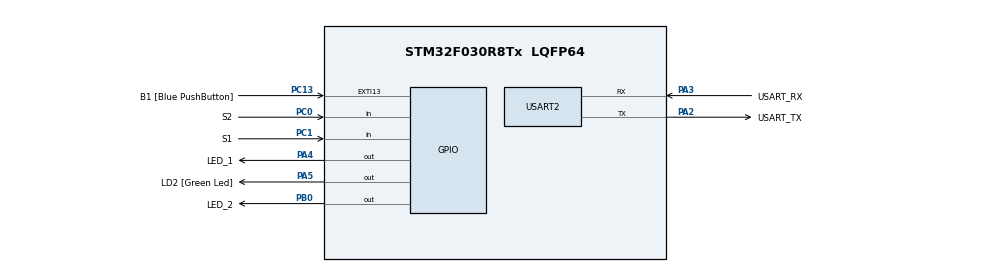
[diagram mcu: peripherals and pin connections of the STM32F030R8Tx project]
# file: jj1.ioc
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Mcu.Family=STM32F0
Mcu.Name=STM32F030R8Tx
Mcu.Package=LQFP64
PA13.GPIO_Label=TMS
PA13.Mode=Serial_Wire
PA13.Signal=SYS_SWDIO
PA14.GPIO_Label=TCK
PA14.Mode=Serial_Wire
PA14.Signal=SYS_SWCLK
PA2.GPIO_Label=USART_TX
PA2.GPIO_Mode=GPIO_MODE_AF_PP
PA2.GPIO_PuPd=GPIO_NOPULL
PA2.GPIO_Speed=GPIO_SPEED_FREQ_LOW
PA2.Mode=Asynchronous
PA2.Signal=USART2_TX
PA3.GPIO_Label=USART_RX
PA3.GPIO_Mode=GPIO_MODE_AF_PP
PA3.GPIO_PuPd=GPIO_NOPULL
PA3.GPIO_Speed=GPIO_SPEED_FREQ_LOW
PA3.Mode=Asynchronous
PA3.Signal=USART2_RX
PA4.GPIO_Label=LED_1
PA4.Signal=GPIO_Output
PA5.GPIO_Label=LD2 [Green Led]
PA5.GPIO_Mode=GPIO_MODE_OUTPUT_PP
PA5.GPIO_PuPd=GPIO_NOPULL
PA5.GPIO_Speed=GPIO_SPEED_FREQ_LOW
PA5.Signal=GPIO_Output
PB0.GPIO_Label=LED_2
PB0.Signal=GPIO_Output
PC0.GPIO_Label=S2
PC0.GPIO_PuPd=GPIO_PULLUP
PC0.Signal=GPIO_Input
PC1.GPIO_Label=S1
PC1.GPIO_PuPd=GPIO_PULLUP
PC1.Signal=GPIO_Input
PC13.GPIO_Label=B1 [Blue PushButton]
PC13.GPIO_ModeDefaultEXTI=GPIO_MODE_IT_FALLING
PC13.Signal=GPXTI13
PC14-OSC32_IN.Mode=LSE-External-Oscillator
PC14-OSC32_IN.Signal=RCC_OSC32_IN
PC15-OSC32_OUT.Mode=LSE-External-Oscillator
PC15-OSC32_OUT.Signal=RCC_OSC32_OUT
PF0-OSC_IN.Mode=HSE-External-Clock-Source
PF0-OSC_IN.Signal=RCC_OSC_IN
PF1-OSC_OUT.Signal=RCC_OSC_OUT
ProjectManager.HeapSize=0x200
ProjectManager.StackSize=0x400
ProjectManager.TargetToolchain=STM32CubeIDE
RCC.AHBFreq_Value=48000000
RCC.APB1Freq_Value=48000000
RCC.APB1TimFreq_Value=48000000
RCC.HCLKFreq_Value=48000000
RCC.PLLMUL=RCC_PLL_MUL12
RCC.SYSCLKFreq_VALUE=48000000
RCC.SYSCLKSource=RCC_SYSCLKSOURCE_PLLCLK
USART2.VirtualMode-Asynchronous=VM_ASYNC
board=NUCLEO-F030R8

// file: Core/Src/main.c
/* USER CODE BEGIN Header */
/**
  ******************************************************************************
  * @file           : main.c
  * @brief          : Main program body
  ******************************************************************************
  * @attention
  *
  * Copyright (c) 2024 STMicroelectronics.
  * All rights reserved.
  *
  * This software is licensed under terms that can be found in the LICENSE file
  * in the root directory of this software component.
  * If no LICENSE file comes with this software, it is provided AS-IS.
  *
  ******************************************************************************
  */
/* USER CODE END Header */
#include "main.h"

/* USER CODE BEGIN PD */
#define BLINK_TIME 300
#define BUTTON_PERIOD 5
#define LED_TIME_SHORT 100
#define LED_TIME_LONG 1000
/* USER CODE END PD */

void SystemClock_Config(void);
static void MX_GPIO_Init(void);
static void MX_USART2_UART_Init(void);

/* USER CODE BEGIN 0 */
/*static void blink() {
	static uint32_t last_blink_tick;

	if (Tick > last_blink_tick + BLINK_TIME) {
		last_blink_tick = Tick;

		LL_GPIO_TogglePin(LED_1_GPIO_Port, LED_1_Pin);
	}

}*/
static void button() {
	static uint32_t old_s2;
	static uint32_t old_s1;
	static uint32_t off_time;
	static uint16_t debounce_s1 = 0xFFFF;  // Proměnná pro debouncing S1
	static uint16_t debounce_s2 = 0xFFFF;  // Proměnná pro debouncing S2
	uint32_t new_s2 = LL_GPIO_IsInputPinSet(S2_GPIO_Port, S2_Pin);
	uint32_t new_s1 = LL_GPIO_IsInputPinSet(S1_GPIO_Port, S1_Pin);

 	/*if (old_s2 && !new_s2) { // falling edge
 		 off_time = Tick + LED_TIME_SHORT;
 		 LL_GPIO_SetOutputPin(LED_2_GPIO_Port, LED_2_Pin);
 	 }
 	 old_s2 = new_s2;*/

	debounce_s1 = (debounce_s1 << 1) | LL_GPIO_IsInputPinSet(S1_GPIO_Port, S1_Pin);  // Bitová rotace vlevo pro S1

	    if (debounce_s1 == 0x7FFF) {  // Pokud je proměnná debounce_s1 rovna 0x7FFF, znamená to, že tlačítko bylo uvolněno bez zákmitů
	        off_time = Tick + LED_TIME_LONG;  // Nastavení času svícení LED2
	        LL_GPIO_SetOutputPin(LED_2_GPIO_Port, LED_2_Pin);  // Zapnutí LED2
	    }

	    // **Pokročilá debouncing kontrola tlačítka S2 (voláno každých 5 ms)**
	    debounce_s2 = (debounce_s2 << 1) | LL_GPIO_IsInputPinSet(S2_GPIO_Port, S2_Pin);  // Bitová rotace vlevo pro S2

	    if (debounce_s2 == 0x7FFF) {  // Pokud je proměnná debounce_s2 rovna 0x7FFF
	        off_time = Tick + LED_TIME_SHORT;  // Nastavení času svícení LED2
	        LL_GPIO_SetOutputPin(LED_2_GPIO_Port, LED_2_Pin);  // Zapnutí LED2
	    }

	    // **Kontrola, zda čas pro vypnutí LED2 uplynul**
	    if (Tick > off_time) {
	        LL_GPIO_ResetOutputPin(LED_2_GPIO_Port, LED_2_Pin);  // Vypnutí LED2
	    }
	}

/* USER CODE END 0 */

int main(void)
{

  /* MCU Configuration--------------------------------------------------------*/

  /* Reset of all peripherals, Initializes the Flash interface and the Systick. */
  LL_APB1_GRP2_EnableClock(LL_APB1_GRP2_PERIPH_SYSCFG);
  LL_APB1_GRP1_EnableClock(LL_APB1_GRP1_PERIPH_PWR);

  /* Configure the system clock */
  SystemClock_Config();

  /* Initialize all configured peripherals */
  MX_GPIO_Init();
  MX_USART2_UART_Init();
  /* USER CODE BEGIN 2 */
  LL_SYSTICK_EnableIT();
  /* USER CODE END 2 */

  /* Infinite loop */
  /* USER CODE BEGIN WHILE */
  while (1)
  {
	//  blink();

	  static uint32_t last_button_tick;

	  if (Tick>last_button_tick+BUTTON_PERIOD) {
		last_button_tick = Tick;
		button();

	}
    /* USER CODE END WHILE */

  }
}

void SystemClock_Config(void)
{
  LL_FLASH_SetLatency(LL_FLASH_LATENCY_1);
  while(LL_FLASH_GetLatency() != LL_FLASH_LATENCY_1)
  {
  }
  LL_RCC_HSI_Enable();

   /* Wait till HSI is ready */
  while(LL_RCC_HSI_IsReady() != 1)
  {

  }
  LL_RCC_HSI_SetCalibTrimming(16);
  LL_RCC_PLL_ConfigDomain_SYS(LL_RCC_PLLSOURCE_HSI_DIV_2, LL_RCC_PLL_MUL_12);
  LL_RCC_PLL_Enable();

   /* Wait till PLL is ready */
  while(LL_RCC_PLL_IsReady() != 1)
  {

  }
  LL_RCC_SetAHBPrescaler(LL_RCC_SYSCLK_DIV_1);
  LL_RCC_SetAPB1Prescaler(LL_RCC_APB1_DIV_1);
  LL_RCC_SetSysClkSource(LL_RCC_SYS_CLKSOURCE_PLL);

   /* Wait till System clock is ready */
  while(LL_RCC_GetSysClkSource() != LL_RCC_SYS_CLKSOURCE_STATUS_PLL)
  {

  }
  LL_Init1msTick(48000000);
  LL_SetSystemCoreClock(48000000);
}

static void MX_USART2_UART_Init(void)
{

  LL_USART_InitTypeDef USART_InitStruct = {0};

  LL_GPIO_InitTypeDef GPIO_InitStruct = {0};

  /* Peripheral clock enable */
  LL_APB1_GRP1_EnableClock(LL_APB1_GRP1_PERIPH_USART2);

  LL_AHB1_GRP1_EnableClock(LL_AHB1_GRP1_PERIPH_GPIOA);
  /**USART2 GPIO Configuration
  PA2   ------> USART2_TX
  PA3   ------> USART2_RX
  */
  GPIO_InitStruct.Pin = USART_TX_Pin;
  GPIO_InitStruct.Mode = LL_GPIO_MODE_ALTERNATE;
  GPIO_InitStruct.Speed = LL_GPIO_SPEED_FREQ_LOW;
  GPIO_InitStruct.OutputType = LL_GPIO_OUTPUT_PUSHPULL;
  GPIO_InitStruct.Pull = LL_GPIO_PULL_NO;
  GPIO_InitStruct.Alternate = LL_GPIO_AF_1;
  LL_GPIO_Init(USART_TX_GPIO_Port, &GPIO_InitStruct);

  GPIO_InitStruct.Pin = USART_RX_Pin;
  GPIO_InitStruct.Mode = LL_GPIO_MODE_ALTERNATE;
  GPIO_InitStruct.Speed = LL_GPIO_SPEED_FREQ_LOW;
  GPIO_InitStruct.OutputType = LL_GPIO_OUTPUT_PUSHPULL;
  GPIO_InitStruct.Pull = LL_GPIO_PULL_NO;
  GPIO_InitStruct.Alternate = LL_GPIO_AF_1;
  LL_GPIO_Init(USART_RX_GPIO_Port, &GPIO_InitStruct);

  USART_InitStruct.BaudRate = 38400;
  USART_InitStruct.DataWidth = LL_USART_DATAWIDTH_8B;
  USART_InitStruct.StopBits = LL_USART_STOPBITS_1;
  USART_InitStruct.Parity = LL_USART_PARITY_NONE;
  USART_InitStruct.TransferDirection = LL_USART_DIRECTION_TX_RX;
  USART_InitStruct.HardwareFlowControl = LL_USART_HWCONTROL_NONE;
  USART_InitStruct.OverSampling = LL_USART_OVERSAMPLING_16;
  LL_USART_Init(USART2, &USART_InitStruct);
  LL_USART_DisableIT_CTS(USART2);
  LL_USART_ConfigAsyncMode(USART2);
  LL_USART_Enable(USART2);

}

static void MX_GPIO_Init(void)
{
  LL_EXTI_InitTypeDef EXTI_InitStruct = {0};
  LL_GPIO_InitTypeDef GPIO_InitStruct = {0};

  /* GPIO Ports Clock Enable */
  LL_AHB1_GRP1_EnableClock(LL_AHB1_GRP1_PERIPH_GPIOC);
  LL_AHB1_GRP1_EnableClock(LL_AHB1_GRP1_PERIPH_GPIOF);
  LL_AHB1_GRP1_EnableClock(LL_AHB1_GRP1_PERIPH_GPIOA);
  LL_AHB1_GRP1_EnableClock(LL_AHB1_GRP1_PERIPH_GPIOB);

  /**/
  LL_GPIO_ResetOutputPin(LED_1_GPIO_Port, LED_1_Pin);

  /**/
  LL_GPIO_ResetOutputPin(LD2_GPIO_Port, LD2_Pin);

  /**/
  LL_GPIO_ResetOutputPin(LED_2_GPIO_Port, LED_2_Pin);

  /**/
  LL_SYSCFG_SetEXTISource(LL_SYSCFG_EXTI_PORTC, LL_SYSCFG_EXTI_LINE13);

  /**/
  LL_GPIO_SetPinPull(B1_GPIO_Port, B1_Pin, LL_GPIO_PULL_NO);

  /**/
  LL_GPIO_SetPinMode(B1_GPIO_Port, B1_Pin, LL_GPIO_MODE_INPUT);

  /**/
  EXTI_InitStruct.Line_0_31 = LL_EXTI_LINE_13;
  EXTI_InitStruct.LineCommand = ENABLE;
  EXTI_InitStruct.Mode = LL_EXTI_MODE_IT;
  EXTI_InitStruct.Trigger = LL_EXTI_TRIGGER_FALLING;
  LL_EXTI_Init(&EXTI_InitStruct);

  /**/
  GPIO_InitStruct.Pin = S2_Pin;
  GPIO_InitStruct.Mode = LL_GPIO_MODE_INPUT;
  GPIO_InitStruct.Pull = LL_GPIO_PULL_UP;
  LL_GPIO_Init(S2_GPIO_Port, &GPIO_InitStruct);

  /**/
  GPIO_InitStruct.Pin = S1_Pin;
  GPIO_InitStruct.Mode = LL_GPIO_MODE_INPUT;
  GPIO_InitStruct.Pull = LL_GPIO_PULL_UP;
  LL_GPIO_Init(S1_GPIO_Port, &GPIO_InitStruct);

  /**/
  GPIO_InitStruct.Pin = LED_1_Pin;
  GPIO_InitStruct.Mode = LL_GPIO_MODE_OUTPUT;
  GPIO_InitStruct.Speed = LL_GPIO_SPEED_FREQ_LOW;
  GPIO_InitStruct.OutputType = LL_GPIO_OUTPUT_PUSHPULL;
  GPIO_InitStruct.Pull = LL_GPIO_PULL_NO;
  LL_GPIO_Init(LED_1_GPIO_Port, &GPIO_InitStruct);

  /**/
  GPIO_InitStruct.Pin = LD2_Pin;
  GPIO_InitStruct.Mode = LL_GPIO_MODE_OUTPUT;
  GPIO_InitStruct.Speed = LL_GPIO_SPEED_FREQ_LOW;
  GPIO_InitStruct.OutputType = LL_GPIO_OUTPUT_PUSHPULL;
  GPIO_InitStruct.Pull = LL_GPIO_PULL_NO;
  LL_GPIO_Init(LD2_GPIO_Port, &GPIO_InitStruct);

  /**/
  GPIO_InitStruct.Pin = LED_2_Pin;
  GPIO_InitStruct.Mode = LL_GPIO_MODE_OUTPUT;
  GPIO_InitStruct.Speed = LL_GPIO_SPEED_FREQ_LOW;
  GPIO_InitStruct.OutputType = LL_GPIO_OUTPUT_PUSHPULL;
  GPIO_InitStruct.Pull = LL_GPIO_PULL_NO;
  LL_GPIO_Init(LED_2_GPIO_Port, &GPIO_InitStruct);

}

void Error_Handler(void)
{
  __disable_irq();
  while (1)
  {
  }
}
